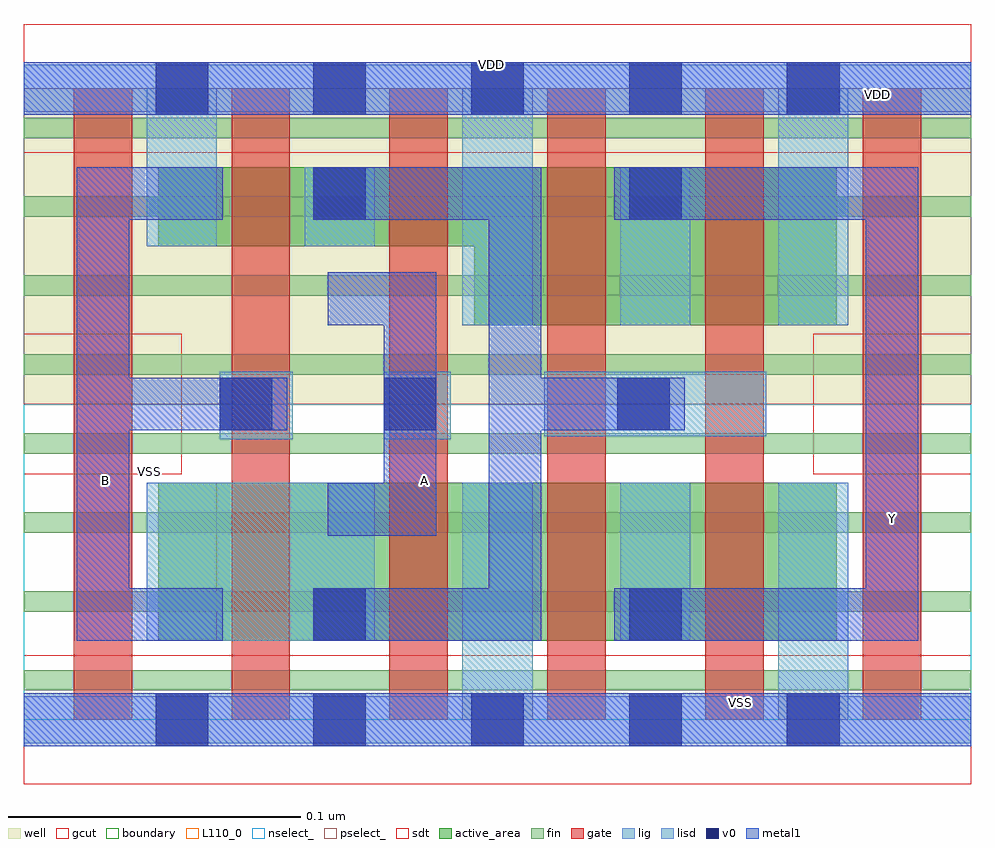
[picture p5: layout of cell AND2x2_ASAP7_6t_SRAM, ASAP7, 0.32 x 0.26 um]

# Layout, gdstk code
import gdstk
lib = gdstk.Library(unit=1e-6, precision=2.5e-10)
def R(c, l, rs):  # rectangles x0, y0, x1, y1
    for r in rs: c.add(gdstk.rectangle(r[:2], r[2:], *l))
def A(c, l, x, y, w, h, nx, ny, dx, dy):  # array of equal rectangles
    R(c, l, [(x+i*dx, y+j*dy, x+i*dx+w, y+j*dy+h) for i in range(nx) for j in range(ny)])
def P(c, l, *ps):  # polygons
    for p in ps: c.add(gdstk.Polygon(p, *l))
well = (1, 0)
fin = (2, 0)
gate = (7, 0)
gcut = (10, 0)
active_area = (11, 0)
nselect_ = (12, 0)
pselect_ = (13, 0)
lig = (16, 0)
lisd = (17, 0)
v0 = (18, 0)
metal1 = (19, 0)
sdt = (88, 0)
boundary = (100, 0)
L110_0 = (110, 0)

and2x2_asap7_6t_sram = lib.new_cell('AND2x2_ASAP7_6t_SRAM')
R(and2x2_asap7_6t_sram, well, [(0,0.108,0.324,0.216)])
A(and2x2_asap7_6t_sram, fin, 0, 0.01, 0.324, 0.007, 1, 8, 0, 0.027)
A(and2x2_asap7_6t_sram, gate, 0.017, 0, 0.02, 0.216, 6, 1, 0.054, 0)
R(and2x2_asap7_6t_sram, gcut, [(0,-0.022,0.324,0.022), (0,0.084,0.054,0.132), (0.27,0.084,0.324,0.132), (0,0.194,0.324,0.238)])
R(and2x2_asap7_6t_sram, active_area, [(0.046,0.027,0.278,0.081)])
P(and2x2_asap7_6t_sram, active_area, [(0.278,0.135),(0.154,0.135),(0.154,0.162),(0.046,0.162),(0.046,0.189),(0.278,0.189)])
R(and2x2_asap7_6t_sram, nselect_, [(0,0,0.324,0.108)])
R(and2x2_asap7_6t_sram, pselect_, [(0,0.108,0.324,0.216)])
R(and2x2_asap7_6t_sram, lig, [(0,-0.008,0.324,0.008), (0.067,0.096,0.092,0.119), (0.123,0.096,0.146,0.119), (0.178,0.097,0.254,0.119), (0,0.208,0.324,0.224)])
R(and2x2_asap7_6t_sram, lisd, [(0.15,0,0.174,0.081), (0.258,0,0.282,0.081), (0.042,0.027,0.12,0.081), (0.204,0.027,0.228,0.081), (0.15,0.135,0.174,0.216), (0.204,0.135,0.228,0.189), (0.258,0.135,0.282,0.216), (0.042,0.162,0.066,0.216), (0.096,0.162,0.12,0.189)])
A(and2x2_asap7_6t_sram, v0, 0.045, -0.009, 0.018, 0.018, 5, 2, 0.054, 0.216)
R(and2x2_asap7_6t_sram, v0, [(0.099,0.027,0.117,0.045), (0.207,0.027,0.225,0.045), (0.067,0.099,0.085,0.117), (0.123,0.099,0.141,0.117), (0.203,0.099,0.221,0.117), (0.099,0.171,0.117,0.189), (0.207,0.171,0.225,0.189)])
R(and2x2_asap7_6t_sram, metal1, [(0,-0.009,0.324,0.009), (0,0.207,0.324,0.225)])
P(and2x2_asap7_6t_sram, metal1, [(0.226,0.099),(0.177,0.099),(0.177,0.027),(0.099,0.027),(0.099,0.045),(0.159,0.045),(0.159,0.171),(0.099,0.171),(0.099,0.189),(0.177,0.189),(0.177,0.117),(0.226,0.117)],
  [(0.09,0.099),(0.036,0.099),(0.036,0.045),(0.068,0.045),(0.068,0.027),(0.018,0.027),(0.018,0.189),(0.068,0.189),(0.068,0.171),(0.036,0.171),(0.036,0.117),(0.09,0.117)],
  [(0.141,0.063),(0.104,0.063),(0.104,0.081),(0.123,0.081),(0.123,0.135),(0.104,0.135),(0.104,0.153),(0.141,0.153)],
  [(0.306,0.027),(0.202,0.027),(0.202,0.045),(0.288,0.045),(0.288,0.171),(0.202,0.171),(0.202,0.189),(0.306,0.189)])
A(and2x2_asap7_6t_sram, sdt, 0.15, 0.027, 0.024, 0.054, 3, 2, 0.054, 0.108)
R(and2x2_asap7_6t_sram, sdt, [(0.042,0.027,0.066,0.081), (0.042,0.162,0.066,0.189), (0.096,0.162,0.12,0.189)])
R(and2x2_asap7_6t_sram, boundary, [(0,0,0.324,0.216)])
R(and2x2_asap7_6t_sram, L110_0, [(0,0,0.324,0.216)])
and2x2_asap7_6t_sram.add(gdstk.Label('VSS', (0.245,0.006), layer=19, texttype=251))
and2x2_asap7_6t_sram.add(gdstk.Label('VDD', (0.16,0.224), layer=19, texttype=251))
and2x2_asap7_6t_sram.add(gdstk.Label('Y', (0.297,0.069), layer=19, texttype=251))
and2x2_asap7_6t_sram.add(gdstk.Label('A', (0.137,0.082), layer=19, texttype=251))
and2x2_asap7_6t_sram.add(gdstk.Label('B', (0.028,0.082), layer=19, texttype=251))
and2x2_asap7_6t_sram.add(gdstk.Label('VDD', (0.292,0.214), layer=1, texttype=251))
and2x2_asap7_6t_sram.add(gdstk.Label('VSS', (0.043,0.085), layer=3, texttype=251))

lib.write_gds('AND2x2_ASAP7_6t_SRAM.gds')
